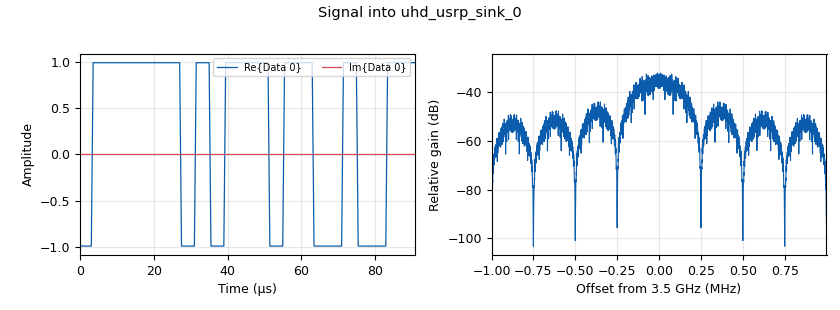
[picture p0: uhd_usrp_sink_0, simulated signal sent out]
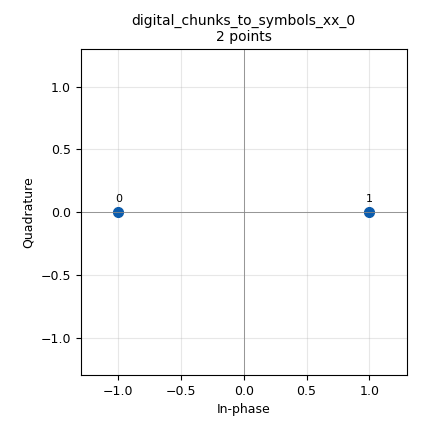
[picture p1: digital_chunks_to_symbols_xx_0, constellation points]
options:
  parameters:
    generate_options: qt_gui
    id: CSTX
    output_language: python
    title: Not titled yet
  states: {}

blocks:
- name: gaintx
  id: variable_qtgui_range
  parameters:
    orient: Qt.Horizontal
    start: '0'
    step: '1'
    stop: '90'
    value: '50'
  states: {}
- name: samp_rate
  id: variable
  parameters:
    value: 2e6
  states: {}
- name: sps
  id: variable
  parameters:
    value: '8'
  states: {}
- name: blocks_multiply_const_vxx_0
  id: blocks_multiply_const_vxx
  parameters:
    const: '0.99'
    type: complex
  states: {}
- name: blocks_repeat_0
  id: blocks_repeat
  parameters:
    interp: sps
    type: complex
  states: {}
- name: digital_chunks_to_symbols_xx_0
  id: digital_chunks_to_symbols_xx
  parameters:
    dimension: '1'
    in_type: byte
    out_type: complex
    symbol_table: (-1,1)
  states: {}
- name: digital_glfsr_source_x_0
  id: digital_glfsr_source_x
  parameters:
    degree: '12'
    mask: '0'
    repeat: 'True'
    seed: '1'
    type: byte
  states: {}
- name: uhd_usrp_sink_0
  id: uhd_usrp_sink
  parameters:
    ant0: TX/RX
    center_freq0: 3.5e9
    dev_args: '"serial=319B8F9"'
    gain0: gaintx
    len_tag_name: ''
    norm_gain0: 'False'
    samp_rate: samp_rate
    sync: sync
    type: fc32
  states: {}

connections:
- [blocks_multiply_const_vxx_0, '0', uhd_usrp_sink_0, '0']
- [blocks_repeat_0, '0', blocks_multiply_const_vxx_0, '0']
- [digital_chunks_to_symbols_xx_0, '0', blocks_repeat_0, '0']
- [digital_glfsr_source_x_0, '0', digital_chunks_to_symbols_xx_0, '0']

metadata:
  file_format: 1
